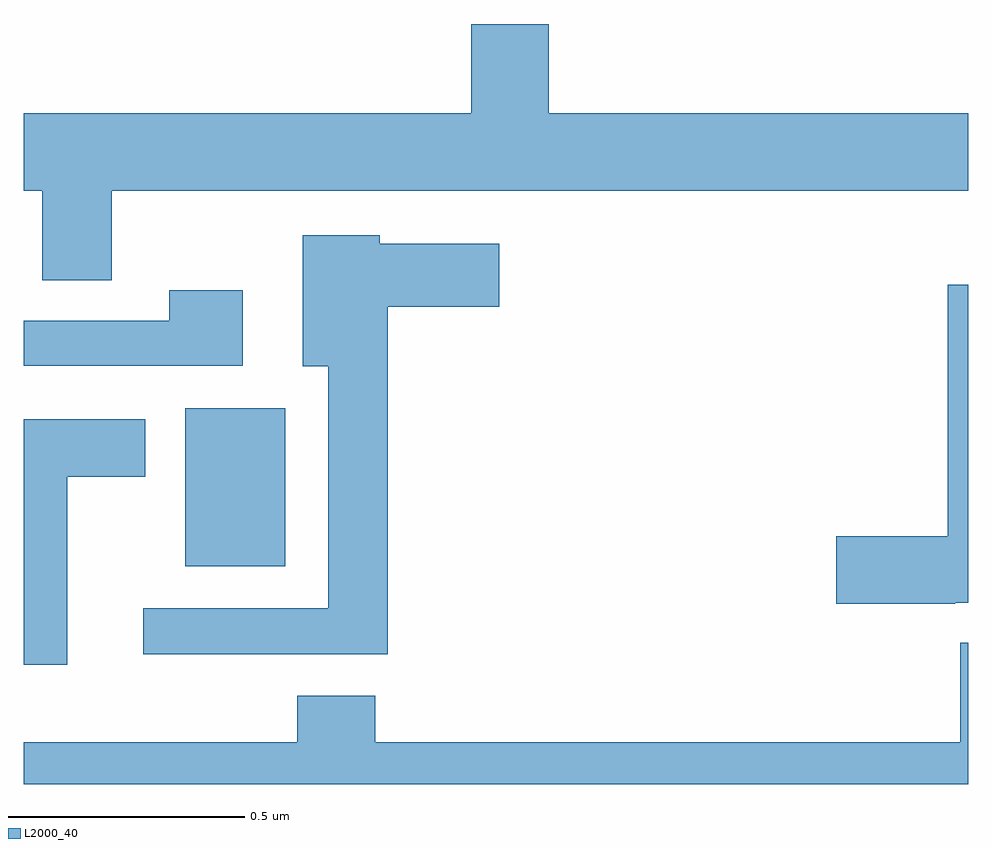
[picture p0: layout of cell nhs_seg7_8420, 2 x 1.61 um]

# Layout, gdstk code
import gdstk
lib = gdstk.Library(unit=1e-6, precision=1e-09)
def R(c, l, rs):  # rectangles x0, y0, x1, y1
    for r in rs: c.add(gdstk.rectangle(r[:2], r[2:], *l))
def P(c, l, *ps):  # polygons
    for p in ps: c.add(gdstk.Polygon(p, *l))
L2000_40 = (2000, 40)

nhs_seg7_8420 = lib.new_cell('nhs_seg7_8420')
R(nhs_seg7_8420, L2000_40, [(224.342,1026.461,224.554,1026.796)])
P(nhs_seg7_8420, L2000_40, [(224.187,1027.256),(226,1027.256),(226,1027.42),(225.112,1027.42),(225.112,1027.609),(224.948,1027.609),(224.948,1027.42),(224,1027.42),(224,1027.256),(224.039,1027.256),(224.039,1027.066),(224.187,1027.066)],
  [(224.771,1027.01),(225.007,1027.01),(225.007,1027.144),(224.754,1027.144),(224.754,1027.162),(224.591,1027.162),(224.591,1026.884),(224.645,1026.884),(224.645,1026.372),(224.253,1026.372),(224.253,1026.275),(224.771,1026.275)],
  [(225.972,1026.384),(226,1026.384),(226,1027.057),(225.956,1027.057),(225.956,1026.524),(225.72,1026.524),(225.72,1026.382),(225.972,1026.382)],
  [(224.464,1027.045),(224.308,1027.045),(224.308,1026.981),(224,1026.981),(224,1026.885),(224.464,1026.885)],
  [(224.092,1026.65),(224.257,1026.65),(224.257,1026.772),(224,1026.772),(224,1026.252),(224.092,1026.252)],
  [(226,1026.299),(225.983,1026.299),(225.983,1026.088),(224.744,1026.088),(224.744,1026.187),(224.579,1026.187),(224.579,1026.088),(224,1026.088),(224,1026),(226,1026)])

lib.write_gds('nhs_seg7_8420.gds')
